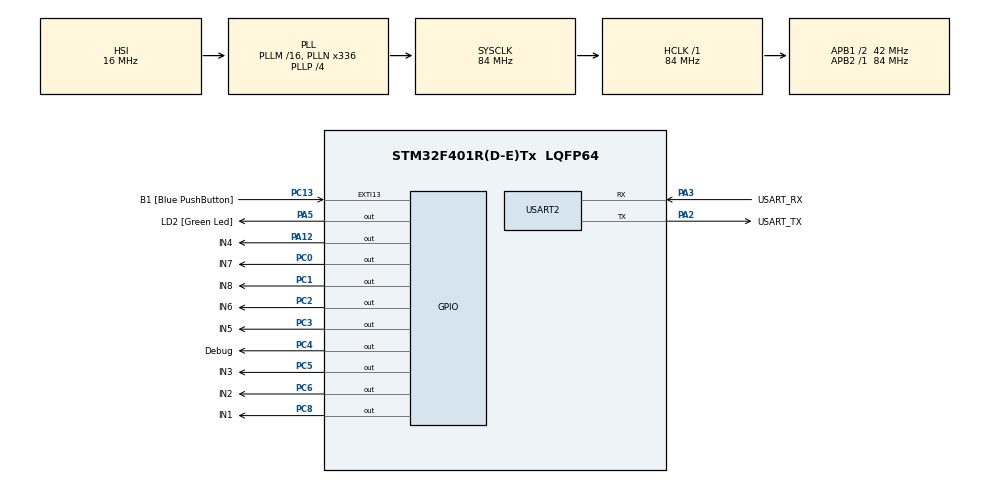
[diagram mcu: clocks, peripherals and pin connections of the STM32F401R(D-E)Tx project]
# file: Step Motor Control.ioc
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Mcu.Family=STM32F4
Mcu.Name=STM32F401R(D-E)Tx
Mcu.Package=LQFP64
NVIC.PriorityGroup=NVIC_PRIORITYGROUP_4
NVIC.TIM3_IRQn=true\:0\:0\:false\:false\:true\:true\:true\:true
PA12.GPIO_Label=IN4
PA12.Signal=GPIO_Output
PA13.GPIO_Label=TMS
PA13.Mode=Trace_Asynchronous_SW
PA13.Signal=SYS_JTMS-SWDIO
PA14.GPIO_Label=TCK
PA14.Mode=Trace_Asynchronous_SW
PA14.Signal=SYS_JTCK-SWCLK
PA2.GPIO_Label=USART_TX
PA2.GPIO_Mode=GPIO_MODE_AF_PP
PA2.GPIO_PuPd=GPIO_NOPULL
PA2.GPIO_Speed=GPIO_SPEED_FREQ_LOW
PA2.Mode=Asynchronous
PA2.Signal=USART2_TX
PA3.GPIO_Label=USART_RX
PA3.GPIO_Mode=GPIO_MODE_AF_PP
PA3.GPIO_PuPd=GPIO_NOPULL
PA3.GPIO_Speed=GPIO_SPEED_FREQ_LOW
PA3.Mode=Asynchronous
PA3.Signal=USART2_RX
PA5.GPIO_Label=LD2 [Green Led]
PA5.GPIO_Mode=GPIO_MODE_OUTPUT_PP
PA5.GPIO_PuPd=GPIO_NOPULL
PA5.GPIO_Speed=GPIO_SPEED_FREQ_LOW
PA5.Signal=GPIO_Output
PB3.GPIO_Label=SWO
PB3.Mode=Trace_Asynchronous_SW
PB3.Signal=SYS_JTDO-SWO
PC0.GPIO_Label=IN7
PC0.Signal=GPIO_Output
PC1.GPIO_Label=IN8
PC1.Signal=GPIO_Output
PC13-ANTI_TAMP.GPIO_Label=B1 [Blue PushButton]
PC13-ANTI_TAMP.GPIO_ModeDefaultEXTI=GPIO_MODE_IT_FALLING
PC13-ANTI_TAMP.GPIO_PuPd=GPIO_NOPULL
PC13-ANTI_TAMP.Signal=GPXTI13
PC14-OSC32_IN.Mode=LSE-External-Oscillator
PC14-OSC32_IN.Signal=RCC_OSC32_IN
PC15-OSC32_OUT.Mode=LSE-External-Oscillator
PC15-OSC32_OUT.Signal=RCC_OSC32_OUT
PC2.GPIO_Label=IN6
PC2.Signal=GPIO_Output
PC3.GPIO_Label=IN5
PC3.Signal=GPIO_Output
PC4.GPIO_Label=Debug
PC4.Signal=GPIO_Output
PC5.GPIO_Label=IN3
PC5.Signal=GPIO_Output
PC6.GPIO_Label=IN2
PC6.Signal=GPIO_Output
PC8.GPIO_Label=IN1
PC8.PinState=GPIO_PIN_SET
PC8.Signal=GPIO_Output
PH0\ -\ OSC_IN.Mode=HSE-External-Clock-Source
PH0\ -\ OSC_IN.Signal=RCC_OSC_IN
PH1\ -\ OSC_OUT.Mode=HSE-External-Clock-Source
PH1\ -\ OSC_OUT.Signal=RCC_OSC_OUT
ProjectManager.HeapSize=0x200
ProjectManager.StackSize=0x400
ProjectManager.TargetToolchain=STM32CubeIDE
RCC.48MHZClocksFreq_Value=48000000
RCC.AHBFreq_Value=84000000
RCC.APB1CLKDivider=RCC_HCLK_DIV2
RCC.APB1Freq_Value=42000000
RCC.APB1TimFreq_Value=84000000
RCC.APB2Freq_Value=84000000
RCC.APB2TimFreq_Value=84000000
RCC.CortexFreq_Value=84000000
RCC.HCLKFreq_Value=84000000
RCC.HSE_VALUE=8000000
RCC.HSI_VALUE=16000000
RCC.PLLN=336
RCC.PLLP=RCC_PLLP_DIV4
RCC.PLLQ=7
RCC.SYSCLKFreq_VALUE=84000000
RCC.SYSCLKSource=RCC_SYSCLKSOURCE_PLLCLK
RCC.VCOOutputFreq_Value=336000000
TIM3.Period=15
TIM3.Prescaler=83
USART2.VirtualMode=VM_ASYNC
VP_TIM3_VS_ClockSourceINT.Mode=Internal
board=NUCLEO-F401RE

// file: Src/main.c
/* USER CODE BEGIN Header */
/**
  ******************************************************************************
  * @file           : main.c
  * @brief          : Main program body
  ******************************************************************************
  * @attention
  *
  * Copyright (c) 2026 STMicroelectronics.
  * All rights reserved.
  *
  * This software is licensed under terms that can be found in the LICENSE file
  * in the root directory of this software component.
  * If no LICENSE file comes with this software, it is provided AS-IS.
  *
  ******************************************************************************
  */
/* USER CODE END Header */
#include "main.h"

/* USER CODE BEGIN Includes */
#include <stdio.h>
#include "motion_control.h"

/* USER CODE END Includes */

/* USER CODE BEGIN PTD */

typedef struct
{
	int32_t 	p;	//position
	uint32_t 	t; 		//delay
}stepTask_t;

/* USER CODE END PTD */

/* USER CODE BEGIN PD */

#define ARRAY_SIZE(x) (sizeof(x) / sizeof((x)[0]))

/* USER CODE END PD */

TIM_HandleTypeDef htim3;

UART_HandleTypeDef huart2;

/* USER CODE BEGIN PV */

parameters_t pars0 =
{
				.Vh = 1000,
				.Vl = 100,
				.Aa = 5000,
				.Ad = 5000,

				.pinCfg =
				{
						.in_1 =
						{
								.port = IN1_GPIO_Port,
								.pin  =	IN1_Pin,
						},
						.in_2 =
						{
								.port = IN2_GPIO_Port,
								.pin  =	IN2_Pin,
						},
						.in_3 =
						{
								.port = IN3_GPIO_Port,
								.pin  =	IN3_Pin,
						},
						.in_4 =
						{
								.port = IN4_GPIO_Port,
								.pin  =	IN4_Pin,
						},
				}
};

parameters_t pars1 =
{

		.Vh = 500,
		.Vl = 100,
		.Aa = 1000,
		.Ad = 5000,

		.pinCfg =
		{
				.in_1 =
				{
						.port = IN5_GPIO_Port,
						.pin  =	IN5_Pin,
				},
				.in_2 =
				{
						.port = IN6_GPIO_Port,
						.pin  =	IN6_Pin,
				},
				.in_3 =
				{
						.port = IN7_GPIO_Port,
						.pin  =	IN7_Pin,
				},
				.in_4 =
				{
						.port = IN8_GPIO_Port,
						.pin  =	IN8_Pin,
				},
		},

};

step_h_t STEP0;
step_h_t STEP1;

int32_t set_p0;
int32_t set_p1;

/* USER CODE END PV */

void SystemClock_Config(void);
static void MX_GPIO_Init(void);
static void MX_USART2_UART_Init(void);
static void MX_TIM3_Init(void);

int main(void)
{

  /* MCU Configuration--------------------------------------------------------*/

  /* Reset of all peripherals, Initializes the Flash interface and the Systick. */
  HAL_Init();

  /* Configure the system clock */
  SystemClock_Config();

  /* Initialize all configured peripherals */
  MX_GPIO_Init();
  MX_USART2_UART_Init();
  MX_TIM3_Init();

  /* Infinite loop */
  /* USER CODE BEGIN WHILE */

  /* Initialization of stepper motors. */
  STEP_SetParameters( &pars0 , &STEP0 );
  STEP_Register( &STEP0, &set_p0 );

  STEP_SetParameters( &pars1 , &STEP1 );
  STEP_Register( &STEP1, &set_p1 );

//  STEP_SetParameters( &pars0, &STEP_H0 );
  HAL_TIM_Base_Start_IT(&htim3);

  while (1)
  {
		/* Move stepper motors to their target positions. */
		STEP_SetPosition(4096, &STEP0);
		STEP_SetPosition(2048, &STEP1);

	    /* Wait until both motors complete their motion. */
	    while (STEP_GetRunCount() != 0U)
	    {

	    };

		/* Stop the first motor during motion. */
		STEP_SetPosition(8192, &STEP0);
		STEP_SetPosition(-2048, &STEP1);

	        HAL_Delay(2000);

	        STEP_EmergencyStop(&STEP0);

		while( STEP_GetRun( &STEP1 ) )
		  {

		  };

		/* Wait until both motors stop. */
		STEP_SetPosition(0, &STEP0 );
		STEP_SetPosition(0, &STEP1 );

		while (STEP_GetRunCount() != 0U)
		{

		};

		STEP_UnRegister(&STEP0);
		STEP_UnRegister(&STEP1);

    /* USER CODE END WHILE */

  }
}

void SystemClock_Config(void)
{
  RCC_OscInitTypeDef RCC_OscInitStruct = {0};
  RCC_ClkInitTypeDef RCC_ClkInitStruct = {0};

  /** Configure the main internal regulator output voltage
  */
  __HAL_RCC_PWR_CLK_ENABLE();
  __HAL_PWR_VOLTAGESCALING_CONFIG(PWR_REGULATOR_VOLTAGE_SCALE2);

  /** Initializes the RCC Oscillators according to the specified parameters
  * in the RCC_OscInitTypeDef structure.
  */
  RCC_OscInitStruct.OscillatorType = RCC_OSCILLATORTYPE_HSI;
  RCC_OscInitStruct.HSIState = RCC_HSI_ON;
  RCC_OscInitStruct.HSICalibrationValue = RCC_HSICALIBRATION_DEFAULT;
  RCC_OscInitStruct.PLL.PLLState = RCC_PLL_ON;
  RCC_OscInitStruct.PLL.PLLSource = RCC_PLLSOURCE_HSI;
  RCC_OscInitStruct.PLL.PLLM = 16;
  RCC_OscInitStruct.PLL.PLLN = 336;
  RCC_OscInitStruct.PLL.PLLP = RCC_PLLP_DIV4;
  RCC_OscInitStruct.PLL.PLLQ = 7;
  if (HAL_RCC_OscConfig(&RCC_OscInitStruct) != HAL_OK)
  {
    Error_Handler();
  }

  /** Initializes the CPU, AHB and APB buses clocks
  */
  RCC_ClkInitStruct.ClockType = RCC_CLOCKTYPE_HCLK|RCC_CLOCKTYPE_SYSCLK
                              |RCC_CLOCKTYPE_PCLK1|RCC_CLOCKTYPE_PCLK2;
  RCC_ClkInitStruct.SYSCLKSource = RCC_SYSCLKSOURCE_PLLCLK;
  RCC_ClkInitStruct.AHBCLKDivider = RCC_SYSCLK_DIV1;
  RCC_ClkInitStruct.APB1CLKDivider = RCC_HCLK_DIV2;
  RCC_ClkInitStruct.APB2CLKDivider = RCC_HCLK_DIV1;

  if (HAL_RCC_ClockConfig(&RCC_ClkInitStruct, FLASH_LATENCY_2) != HAL_OK)
  {
    Error_Handler();
  }
}

static void MX_TIM3_Init(void)
{

  TIM_ClockConfigTypeDef sClockSourceConfig = {0};
  TIM_MasterConfigTypeDef sMasterConfig = {0};

  htim3.Instance = TIM3;
  htim3.Init.Prescaler = 83;
  htim3.Init.CounterMode = TIM_COUNTERMODE_UP;
  htim3.Init.Period = 99;
  htim3.Init.ClockDivision = TIM_CLOCKDIVISION_DIV1;
  htim3.Init.AutoReloadPreload = TIM_AUTORELOAD_PRELOAD_DISABLE;
  if (HAL_TIM_Base_Init(&htim3) != HAL_OK)
  {
    Error_Handler();
  }
  sClockSourceConfig.ClockSource = TIM_CLOCKSOURCE_INTERNAL;
  if (HAL_TIM_ConfigClockSource(&htim3, &sClockSourceConfig) != HAL_OK)
  {
    Error_Handler();
  }
  sMasterConfig.MasterOutputTrigger = TIM_TRGO_RESET;
  sMasterConfig.MasterSlaveMode = TIM_MASTERSLAVEMODE_DISABLE;
  if (HAL_TIMEx_MasterConfigSynchronization(&htim3, &sMasterConfig) != HAL_OK)
  {
    Error_Handler();
  }

}

static void MX_USART2_UART_Init(void)
{

  huart2.Instance = USART2;
  huart2.Init.BaudRate = 115200;
  huart2.Init.WordLength = UART_WORDLENGTH_8B;
  huart2.Init.StopBits = UART_STOPBITS_1;
  huart2.Init.Parity = UART_PARITY_NONE;
  huart2.Init.Mode = UART_MODE_TX_RX;
  huart2.Init.HwFlowCtl = UART_HWCONTROL_NONE;
  huart2.Init.OverSampling = UART_OVERSAMPLING_16;
  if (HAL_UART_Init(&huart2) != HAL_OK)
  {
    Error_Handler();
  }

}

static void MX_GPIO_Init(void)
{
  GPIO_InitTypeDef GPIO_InitStruct = {0};

  /* GPIO Ports Clock Enable */
  __HAL_RCC_GPIOC_CLK_ENABLE();
  __HAL_RCC_GPIOH_CLK_ENABLE();
  __HAL_RCC_GPIOA_CLK_ENABLE();
  __HAL_RCC_GPIOB_CLK_ENABLE();

  /*Configure GPIO pin Output Level */
  HAL_GPIO_WritePin(GPIOC, IN7_Pin|IN8_Pin|IN6_Pin|IN5_Pin
                          |Debug_Pin|IN3_Pin|IN2_Pin, GPIO_PIN_RESET);

  /*Configure GPIO pin Output Level */
  HAL_GPIO_WritePin(GPIOA, LD2_Pin|IN4_Pin, GPIO_PIN_RESET);

  /*Configure GPIO pin Output Level */
  HAL_GPIO_WritePin(IN1_GPIO_Port, IN1_Pin, GPIO_PIN_SET);

  /*Configure GPIO pin : B1_Pin */
  GPIO_InitStruct.Pin = B1_Pin;
  GPIO_InitStruct.Mode = GPIO_MODE_IT_FALLING;
  GPIO_InitStruct.Pull = GPIO_NOPULL;
  HAL_GPIO_Init(B1_GPIO_Port, &GPIO_InitStruct);

  /*Configure GPIO pins : IN7_Pin IN8_Pin IN6_Pin IN5_Pin
                           Debug_Pin IN3_Pin IN2_Pin IN1_Pin */
  GPIO_InitStruct.Pin = IN7_Pin|IN8_Pin|IN6_Pin|IN5_Pin
                          |Debug_Pin|IN3_Pin|IN2_Pin|IN1_Pin;
  GPIO_InitStruct.Mode = GPIO_MODE_OUTPUT_PP;
  GPIO_InitStruct.Pull = GPIO_NOPULL;
  GPIO_InitStruct.Speed = GPIO_SPEED_FREQ_LOW;
  HAL_GPIO_Init(GPIOC, &GPIO_InitStruct);

  /*Configure GPIO pins : LD2_Pin IN4_Pin */
  GPIO_InitStruct.Pin = LD2_Pin|IN4_Pin;
  GPIO_InitStruct.Mode = GPIO_MODE_OUTPUT_PP;
  GPIO_InitStruct.Pull = GPIO_NOPULL;
  GPIO_InitStruct.Speed = GPIO_SPEED_FREQ_LOW;
  HAL_GPIO_Init(GPIOA, &GPIO_InitStruct);

}

void Error_Handler(void)
{
  __disable_irq();
  while (1)
  {
  }
}
